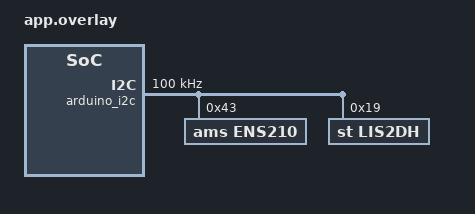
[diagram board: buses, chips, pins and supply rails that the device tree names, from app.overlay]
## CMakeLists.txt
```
# SPDX-License-Identifier: LicenseRef-Atmosic
# Copyright (c) 2025-2026 Atmosic

cmake_minimum_required(VERSION 3.20.0)

# Use CMAKE_CURRENT_LIST_DIR to find the sensor beacon application directory
# Navigate from applications/sensor_beacon/tests to applications/sensor_beacon (1 level up)
get_filename_component(SB_APP_DIR "${CMAKE_CURRENT_LIST_DIR}/.." ABSOLUTE)

# Set the Kconfig root to include the sensor beacon application's Kconfig
set(KCONFIG_ROOT ${SB_APP_DIR}/Kconfig)

find_package(Zephyr REQUIRED HINTS $ENV{ZEPHYR_BASE})
project(sensor_beacon_tests)

# Test sources
target_sources(app PRIVATE
  src/test_main.c
  src/test_sensor_interface.c
  src/test_battery_monitor.c
  src/test_beacon_adv.c
  src/test_sensor_data.c
)

# Include application sources for testing
target_sources(app PRIVATE
  ${SB_APP_DIR}/src/sensor_beacon.c
  ${SB_APP_DIR}/src/sensor_data.c
  ${SB_APP_DIR}/src/battery_monitor.c
  ${SB_APP_DIR}/src/beacon_adv.c
  ${SB_APP_DIR}/src/led_button_ctrl.c
)

# Conditionally include sensor sources
if(CONFIG_SENSOR)
  target_sources(app PRIVATE ${SB_APP_DIR}/src/sensor_interface.c)
endif()

# Include directories
target_include_directories(app PRIVATE
  ${SB_APP_DIR}/src/
  src/
)
```

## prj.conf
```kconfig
# SPDX-License-Identifier: LicenseRef-Atmosic
# Copyright (c) 2025-2026 Atmosic

# Test framework
CONFIG_ZTEST=y

# BT Configuration (minimal for testing)
CONFIG_BT=y
CONFIG_BT_PERIPHERAL=y
CONFIG_BT_EXT_ADV=y
CONFIG_BT_MAX_CONN=1
CONFIG_BT_DEVICE_NAME="Test Beacon"
CONFIG_BT_DEVICE_NAME_DYNAMIC=y
CONFIG_BT_DEVICE_NAME_MAX=18

# Extended advertising configuration for single advertising set
CONFIG_BT_EXT_ADV_MAX_ADV_SET=1

# Battery measurement
CONFIG_ADC=y
CONFIG_ADC_LOG_LEVEL_ERR=y

# Sensor measurement
CONFIG_I2C=y
CONFIG_SENSOR=y
CONFIG_SENSOR_LOG_LEVEL_DBG=y

# Application-specific configuration
CONFIG_SENSOR_BEACON_UPDATE_INTERVAL=100
CONFIG_SENSOR_BEACON_FAST_ADV=n
CONFIG_SENSOR_BEACON_LOG_LEVEL_DBG=y
CONFIG_SENSOR_BEACON_ACCEL_SCALING_FACTOR=16000
CONFIG_SENSOR_BEACON_TEMP_SCALING_FACTOR=256
CONFIG_SENSOR_BEACON_HUMIDITY_SCALING_FACTOR=256

# Disable power management for testing
CONFIG_PM=n

# Stack sizes
CONFIG_MAIN_STACK_SIZE=4096
CONFIG_SYSTEM_WORKQUEUE_STACK_SIZE=2048

# Stack sentinel
CONFIG_STACK_SENTINEL=y

# C library
CONFIG_NEWLIB_LIBC=y
CONFIG_NEWLIB_LIBC_NANO=y

# Logging
CONFIG_LOG=y
CONFIG_LOG_DEFAULT_LEVEL=4



# Disable unused features
CONFIG_BT_SMP=n
CONFIG_BT_GATT_CLIENT=n
CONFIG_BT_GATT_SERVICE_CHANGED=n
CONFIG_BT_GATT_CACHING=n
CONFIG_BT_GATT_AUTO_DISCOVER_CCC=n

# Test-specific configurations
CONFIG_ZTEST_STACK_SIZE=2048
```

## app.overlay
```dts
/*
 * SPDX-License-Identifier: LicenseRef-Atmosic
 * Copyright (c) 2025-2026 Atmosic
 */

/*
 * The arduino_i2c alias automatically resolves to the correct I2C bus
 * for each board variant, eliminating the need for board-specific overlays.
 */

&arduino_i2c {
	status = "okay";
	clock-frequency = <I2C_BITRATE_STANDARD>;

	/* ENS210 temperature and humidity sensor */
	ens210: ens210@43 {
		compatible = "ams,ens210";
		reg = <0x43>;
		status = "okay";
	};

	/* LIS2DH accelerometer */
	lis2dh: lis2dh@19 {
		compatible = "st,lis2dh";
		reg = <0x19>;
		status = "okay";
	};
};
```

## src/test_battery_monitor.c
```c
/*
 * SPDX-License-Identifier: LicenseRef-Atmosic
 * Copyright (c) 2025-2026 Atmosic
 */

#include <zephyr/ztest.h>
#include <zephyr/logging/log.h>

#include "battery_monitor.h"
#include <inttypes.h>

LOG_MODULE_REGISTER(test_battery_monitor, CONFIG_SENSOR_BEACON_LOG_LEVEL);

ZTEST(battery_monitor, test_battery_monitor_init)
{
	int ret = battery_monitor_init();

	if (!ret) {
		LOG_INF("Battery monitor initialized successfully");
	} else {
		LOG_WRN("Battery monitor init failed: %" PRId32 " (expected without ADC)", ret);
		/* This is acceptable in test environment without real ADC */
	}
}

ZTEST(battery_monitor, test_battery_monitor_get_voltages)
{
	/* Try to initialize first */
	battery_monitor_init();

	float vstore, vbatt;
	int ret = battery_monitor_get_voltages(&vstore, &vbatt);

	if (!ret) {
		LOG_INF("VStore: %.3fV, VBatt: %.3fV", (double)vstore, (double)vbatt);

		/* Basic sanity checks for voltage values */
		zassert_true(vstore >= 0.0f && vstore <= 5.0f, "VStore voltage out of range: %.3f",
			     (double)vstore);
		zassert_true(vbatt >= 0.0f && vbatt <= 5.0f, "VBatt voltage out of range: %.3f",
			     (double)vbatt);

		LOG_INF("Battery voltage validation passed");
	} else {
		LOG_WRN("Failed to get battery voltages: %" PRId32 " (expected without ADC)", ret);
		/* Acceptable in test environment */
	}
}

ZTEST(battery_monitor, test_battery_monitor_parameter_validation)
{
	float vstore, vbatt;

	/* Test with valid parameters */
	int ret = battery_monitor_get_voltages(&vstore, &vbatt);

	/* Should succeed or fail gracefully */
	if (!ret) {
		LOG_INF("Parameter validation test passed with valid parameters");
		zassert_true(vstore >= 0.0f && vstore <= 5.0f, "VStore should be in valid range");
		zassert_true(vbatt >= 0.0f && vbatt <= 5.0f, "VBatt should be in valid range");
	} else {
		LOG_WRN("Parameter validation test: function returned error %" PRId32
			" (may be expected)",
			ret);
	}

	LOG_INF("Parameter validation test completed");
}
```

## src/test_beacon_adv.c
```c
/*
 * SPDX-License-Identifier: LicenseRef-Atmosic
 * Copyright (c) 2025-2026 Atmosic
 */

#include <zephyr/ztest.h>
#include <zephyr/logging/log.h>
#include <zephyr/kernel.h>

#include "beacon_adv.h"
#include "sensor_beacon.h"

#include <errno.h>
#include <inttypes.h>

LOG_MODULE_REGISTER(test_beacon_adv, CONFIG_SENSOR_BEACON_LOG_LEVEL);

ZTEST(beacon_adv, test_beacon_adv_init)
{
	int ret = beacon_adv_init();

	if (!ret) {
		LOG_INF("Beacon advertising initialized successfully");
	} else {
		LOG_ERR("Beacon advertising init failed: %" PRId32, ret);
		zassert_true(false, "Beacon advertising init should succeed");
	}
}

ZTEST(beacon_adv, test_beacon_adv_start_stop)
{
	int ret;

	ret = beacon_adv_init();
	if (ret == -EALREADY) {
		ret = 0;
	}
	zassert_equal(ret, 0, "Beacon init should succeed or already be initialized");

	ret = beacon_adv_start();
	if (!ret) {
		LOG_INF("Beacon advertising started successfully");

		k_sleep(K_MSEC(100));

		ret = beacon_adv_stop();
		zassert_equal(ret, 0, "Beacon stop should succeed");
		LOG_INF("Beacon advertising stopped successfully");
	} else {
		LOG_WRN("Beacon advertising start failed: %" PRId32, ret);
		/* May fail in test environment without full BT stack */
	}
}

ZTEST(beacon_adv, test_beacon_adv_update_data)
{
	int ret;
	sensor_beacon_data_t test_data = {.temp = 6400,      /* 25°C * 256 */
					  .humidity = 12800, /* 50% * 256 */
					  .x_axis = 100,
					  .y_axis = 200,
					  .z_axis = 300,
					  .vstore = 3.3f,
					  .vbatt = 3.0f};

	ret = beacon_adv_init();
	if (ret == -EALREADY) {
		ret = 0;
	}
	zassert_equal(ret, 0, "Beacon init should succeed or already be initialized");

	ret = beacon_adv_update_data(&test_data);
	if (!ret) {
		LOG_INF("Beacon advertisement data updated successfully");
	} else {
		LOG_WRN("Beacon advertisement update failed: %" PRId32, ret);
		/* May fail in test environment */
	}
}

ZTEST(beacon_adv, test_beacon_adv_update_data_null)
{
	int ret;

	beacon_adv_init();

	/* Test with NULL data pointer */
	ret = beacon_adv_update_data(NULL);
	zassert_not_equal(ret, 0, "Update with NULL data should fail");
	LOG_INF("NULL data test passed");
}

ZTEST(beacon_adv, test_beacon_adv_data_format)
{
	sensor_beacon_data_t test_data = {.temp = 1234,
					  .humidity = 5678,
					  .x_axis = 100,
					  .y_axis = 200,
					  .z_axis = 300,
					  .vstore = 3.3f,
					  .vbatt = 3.0f};

	/* Verify data structure size matches expected format */
	zassert_equal(sizeof(test_data), sizeof(sensor_beacon_data_t),
		      "Sensor data structure size must match sensor_beacon_data_t");

	LOG_INF("Data format validation passed");
}

ZTEST(beacon_adv, test_beacon_adv_update_strategy)
{
	int ret;
	sensor_beacon_data_t test_data1 = {.temp = 6400,      /* 25°C * 256 */
					   .humidity = 12800, /* 50% * 256 */
					   .x_axis = 100,
					   .y_axis = 200,
					   .z_axis = 300,
					   .vstore = 3.3f,
					   .vbatt = 3.0f};

	sensor_beacon_data_t test_data2 = {.temp = 7680,      /* 30°C * 256 */
					   .humidity = 15360, /* 60% * 256 */
					   .x_axis = 150,
					   .y_axis = 250,
					   .z_axis = 350,
					   .vstore = 3.4f,
					   .vbatt = 3.1f};

	ret = beacon_adv_init();
	if (ret == -EALREADY) {
		ret = 0;
	}
	zassert_equal(ret, 0, "Beacon init should succeed or already be initialized");

	ret = beacon_adv_start();
	if (ret) {
		LOG_WRN("Beacon start failed: %" PRId32 " (may be expected in test environment)",
			ret);
		return; /* Skip rest of test if advertising can't start */
	}

	/* Test multiple data updates to verify strategy works */
	ret = beacon_adv_update_data(&test_data1);
	if (!ret) {
		LOG_INF("First data update successful");

		k_sleep(K_MSEC(100));

		ret = beacon_adv_update_data(&test_data2);
		if (!ret) {
			LOG_INF("Second data update successful");
		} else {
			LOG_WRN("Second data update failed: %" PRId32, ret);
		}
	} else {
		LOG_WRN("First data update failed: %" PRId32, ret);
	}

	beacon_adv_stop();

	LOG_INF("Advertisement update strategy test completed (live update method)");
}
```

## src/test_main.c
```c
/*
 * SPDX-License-Identifier: LicenseRef-Atmosic
 * Copyright (c) 2025-2026 Atmosic
 */

#include <zephyr/ztest.h>
#include <zephyr/logging/log.h>
#include <zephyr/bluetooth/bluetooth.h>
#include <zephyr/settings/settings.h>
#include <inttypes.h>

#include "beacon_adv.h"

LOG_MODULE_REGISTER(test_main, CONFIG_SENSOR_BEACON_LOG_LEVEL);

/* Test suite declarations */
extern void test_sensor_interface_suite(void);
extern void test_battery_monitor_suite(void);
extern void test_beacon_adv_suite(void);
extern void test_sensor_data_suite(void);

static void *sensor_beacon_setup(void)
{
	LOG_INF("Setting up sensor beacon tests");
	return NULL;
}

static void sensor_beacon_teardown(void *fixture)
{
	LOG_INF("Tearing down sensor beacon tests");

	/* Clean up advertising set to prevent resource conflicts between tests */
	beacon_adv_stop();
}

/* Test suites */
ZTEST_SUITE(sensor_interface, NULL, sensor_beacon_setup, NULL, NULL, sensor_beacon_teardown);
ZTEST_SUITE(battery_monitor, NULL, sensor_beacon_setup, NULL, NULL, sensor_beacon_teardown);
ZTEST_SUITE(beacon_adv, NULL, sensor_beacon_setup, NULL, NULL, sensor_beacon_teardown);
ZTEST_SUITE(sensor_data, NULL, sensor_beacon_setup, NULL, NULL, sensor_beacon_teardown);

/* Main test entry point */
void test_main(void)
{
	LOG_INF("Starting sensor beacon test suite");

	/* Initialize Bluetooth subsystem once for all test suites */
	int ret = bt_enable(NULL);
	if (ret) {
		LOG_ERR("Bluetooth init failed: %d", ret);
	} else {
		LOG_INF("Bluetooth initialized for all test suites");
	}

	if (IS_ENABLED(CONFIG_SETTINGS)) {
		ret = settings_load();
		if (ret) {
			LOG_ERR("Settings load failed: %d", ret);
		} else {
			LOG_INF("Settings loaded");
		}
	}

	/* Run all test suites */
	ztest_run_test_suites(NULL, false, 1, 1);
}
```

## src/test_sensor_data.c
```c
/*
 * SPDX-License-Identifier: LicenseRef-Atmosic
 * Copyright (c) 2025-2026 Atmosic
 */

#include <zephyr/ztest.h>
#include <zephyr/logging/log.h>
#include <zephyr/kernel.h>

#include "sensor_data.h"
#include "sensor_beacon.h"
#include <inttypes.h>

LOG_MODULE_REGISTER(test_sensor_data, CONFIG_SENSOR_BEACON_LOG_LEVEL);

ZTEST(sensor_data, test_sensor_data_init)
{
	int ret = sensor_data_init();
	zassert_equal(ret, 0, "Sensor data init should succeed");
	LOG_INF("Sensor data system initialized successfully");
}

ZTEST(sensor_data, test_sensor_data_collect_and_update)
{
	int ret;

	ret = sensor_data_init();
	zassert_equal(ret, 0, "Sensor data init should succeed");

	ret = sensor_data_collect_and_update();

	if (!ret) {
		LOG_INF("Sensor data collection completed successfully");
	} else {
		LOG_WRN("Sensor data collection failed: %" PRId32 " (expected without sensors)",
			ret);
		/* May fail in test environment without real sensors */
	}
}

ZTEST(sensor_data, test_sensor_data_start_stop)
{
	int ret;

	ret = sensor_data_init();
	zassert_equal(ret, 0, "Sensor data init should succeed");

	ret = sensor_data_start();
	zassert_equal(ret, 0, "Sensor data start should succeed");
	LOG_INF("Sensor data collection started");

	k_sleep(K_MSEC(200));

	ret = sensor_data_stop();
	zassert_equal(ret, 0, "Sensor data stop should succeed");
	LOG_INF("Sensor data collection stopped");
}

ZTEST(sensor_data, test_sensor_data_timer_interval)
{
	/* Test that timer interval configuration is correct */
	zassert_true(CONFIG_SENSOR_BEACON_UPDATE_INTERVAL, "Update interval should be positive");
	zassert_true(CONFIG_SENSOR_BEACON_UPDATE_INTERVAL <= 60000,
		     "Update interval should be reasonable (<=10 minutes)");

	LOG_INF("Timer interval validation passed (interval: %" PRId32 " ms)",
		CONFIG_SENSOR_BEACON_UPDATE_INTERVAL);
}

ZTEST(sensor_data, test_sensor_data_integration)
{
	int ret;

	/* Test full integration: init -> start -> collect -> stop */
	ret = sensor_data_init();
	zassert_equal(ret, 0, "Init should succeed");

	ret = sensor_data_start();
	zassert_equal(ret, 0, "Start should succeed");

	/* Wait for automatic collection */
	k_sleep(K_MSEC(100));

	/* Manual collection */
	ret = sensor_data_collect_and_update();
	/* Don't assert on this as it may fail without real sensors */

	ret = sensor_data_stop();
	zassert_equal(ret, 0, "Stop should succeed");

	LOG_INF("Integration test completed");
}
```

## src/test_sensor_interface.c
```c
/*
 * SPDX-License-Identifier: LicenseRef-Atmosic
 * Copyright (c) 2025-2026 Atmosic
 */

#include <zephyr/ztest.h>
#include <zephyr/logging/log.h>
#include <inttypes.h>

#include "sensor_interface.h"

LOG_MODULE_REGISTER(test_sensor_interface, CONFIG_SENSOR_BEACON_LOG_LEVEL);

ZTEST(sensor_interface, test_sensor_interface_init)
{
	int ret = sensor_interface_init();

	/* Should succeed if sensors are available, or fail gracefully */
	if (!ret) {
		LOG_INF("Sensor interface initialized successfully");
	} else {
		LOG_WRN("Sensor interface init failed: %" PRId32 " (expected if no sensors)", ret);
		/* This is acceptable in test environment without real sensors */
	}
}

ZTEST(sensor_interface, test_sensor_interface_get_temp_humidity)
{
	uint16_t temp, humidity;
	int ret;

	sensor_interface_init();

	ret = sensor_interface_get_temp_humidity(&temp, &humidity);

	if (!ret) {
		LOG_INF("Temperature: %" PRIu16 ", Humidity: %" PRIu16, temp, humidity);

		/* Basic sanity checks for scaled values */
		/* Temperature should be reasonable (e.g., -40°C to 85°C scaled by 256) */
		zassert_true(temp < 30000, "Temperature value seems too high: %u", temp);

		/* Humidity should be 0-100% scaled by 256, so max ~25600 */
		zassert_true(humidity <= 25600, "Humidity value seems too high: %u", humidity);

		LOG_INF("Sensor data validation passed");
	} else {
		LOG_WRN("Failed to get temp/humidity: %" PRId32 " (expected without real sensors)",
			ret);
		/* Acceptable in test environment */
	}
}

ZTEST(sensor_interface, test_sensor_interface_get_accel)
{
	uint16_t accel_x, accel_y, accel_z;
	int ret;

	sensor_interface_init();

	ret = sensor_interface_get_accel(&accel_x, &accel_y, &accel_z);

	if (!ret) {
		LOG_INF("Accelerometer: X=%" PRIu16 ", Y=%" PRIu16 ", Z=%" PRIu16, accel_x, accel_y,
			accel_z);

		/* For a stationary device, Z-axis should show ~1g effect */

		LOG_INF("Accelerometer data validation passed");
	} else {
		LOG_WRN("Failed to get accelerometer data: %" PRId32
			" (expected without real sensors)",
			ret);
		/* Acceptable in test environment */
	}
}

ZTEST(sensor_interface, test_sensor_scaling_factors)
{
	/* Test that scaling factors are configured correctly */
	zassert_true(CONFIG_SENSOR_BEACON_TEMP_SCALING_FACTOR == 256,
		     "Temperature scaling factor should be 256");
	zassert_true(CONFIG_SENSOR_BEACON_HUMIDITY_SCALING_FACTOR == 256,
		     "Humidity scaling factor should be 256");
	zassert_true(CONFIG_SENSOR_BEACON_ACCEL_SCALING_FACTOR == 16000,
		     "Accelerometer scaling factor should be 16000");

	LOG_INF("Scaling factors validation passed");
}
```
